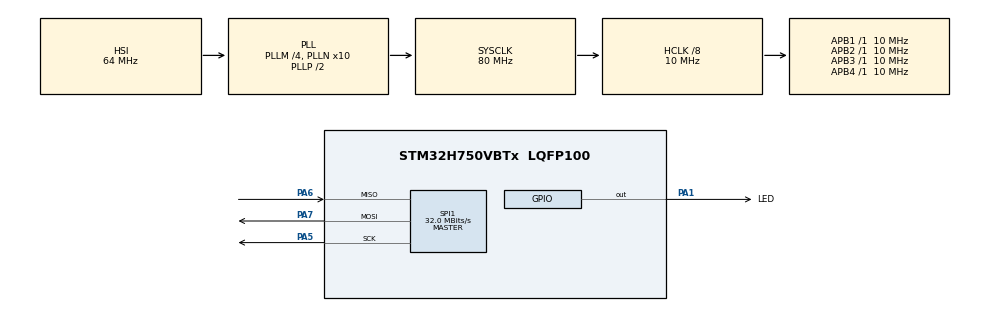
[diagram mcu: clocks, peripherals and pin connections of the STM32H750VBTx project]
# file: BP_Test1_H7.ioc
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CORTEX_M7.MPU_Control=__NULL
Mcu.Family=STM32H7
Mcu.Name=STM32H750VBTx
Mcu.Package=LQFP100
NVIC.PriorityGroup=NVIC_PRIORITYGROUP_4
PA1.GPIO_Label=LED
PA1.Signal=GPIO_Output
PA13\ (JTMS/SWDIO).Mode=Trace_Synchro_4bits_SW
PA13\ (JTMS/SWDIO).Signal=DEBUG_JTMS-SWDIO
PA14\ (JTCK/SWCLK).Mode=Trace_Synchro_4bits_SW
PA14\ (JTCK/SWCLK).Signal=DEBUG_JTCK-SWCLK
PA5.Mode=Full_Duplex_Master
PA5.Signal=SPI1_SCK
PA6.Mode=Full_Duplex_Master
PA6.Signal=SPI1_MISO
PA7.Mode=Full_Duplex_Master
PA7.Signal=SPI1_MOSI
PE2.Mode=Trace_Synchro_4bits_SW
PE2.Signal=DEBUG_TRACECLK
PE3.Mode=Trace_Synchro_4bits_SW
PE3.Signal=DEBUG_TRACED0
PE4.Mode=Trace_Synchro_4bits_SW
PE4.Signal=DEBUG_TRACED1
PE5.Mode=Trace_Synchro_4bits_SW
PE5.Signal=DEBUG_TRACED2
PE6.Mode=Trace_Synchro_4bits_SW
PE6.Signal=DEBUG_TRACED3
ProjectManager.HeapSize=0x200
ProjectManager.StackSize=0x400
ProjectManager.TargetToolchain=STM32CubeIDE
RCC.ADCFreq_Value=16000000
RCC.APB1Freq_Value=10000000
RCC.APB2Freq_Value=10000000
RCC.APB3Freq_Value=10000000
RCC.APB4Freq_Value=10000000
RCC.CortexFreq_Value=80000000
RCC.DIVM1=4
RCC.DIVM2=2
RCC.DIVM3=2
RCC.DIVN1=10
RCC.DIVN2=4
RCC.DIVN3=4
RCC.DIVP2=8
RCC.DIVP3=8
RCC.DIVQ1=8
RCC.DIVR1=8
RCC.HCLKFreq_Value=10000000
RCC.HPRE=RCC_HCLK_DIV8
RCC.HSE_VALUE=25000000
RCC.HSICalibrationValue=64
RCC.PLLFRACN=0
RCC.SPI123CLockSelection=RCC_SPI123CLKSOURCE_CLKP
RCC.SYSCLKFreq_VALUE=80000000
RCC.SYSCLKSource=RCC_SYSCLKSOURCE_PLLCLK
RCC.USBFreq_Value=20000000
SPI1.CalculateBaudRate=32.0 MBits/s
SPI1.DataSize=SPI_DATASIZE_8BIT
SPI1.Direction=SPI_DIRECTION_2LINES
SPI1.Mode=SPI_MODE_MASTER
SPI1.VirtualType=VM_MASTER
VP_MEMORYMAP_VS_MEMORYMAP.Mode=CurAppReg
board=custom

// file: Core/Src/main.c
/* USER CODE BEGIN Header */
/**
  ******************************************************************************
  * @file           : main.c
  * @brief          : Main program body
  ******************************************************************************
  * @attention
  *
  * Copyright (c) 2026 STMicroelectronics.
  * All rights reserved.
  *
  * This software is licensed under terms that can be found in the LICENSE file
  * in the root directory of this software component.
  * If no LICENSE file comes with this software, it is provided AS-IS.
  *
  ******************************************************************************
  */
/* USER CODE END Header */
#include "main.h"

/* USER CODE BEGIN Includes */
#include "ETMv4.h"
/* USER CODE END Includes */

/* USER CODE BEGIN PD */
// CoreSight Lock Access Key
/* USER CODE END PD */

SPI_HandleTypeDef hspi1;

void SystemClock_Config(void);
void PeriphCommonClock_Config(void);
static void MX_GPIO_Init(void);
static void MX_SPI1_Init(void);
/* USER CODE BEGIN PFP */
void Configure_ETM_Trace(void);
void StartPoint(void);
void StopPoint(void);

/* USER CODE END PFP */

int main(void)
{

  /* MCU Configuration--------------------------------------------------------*/

  /* Reset of all peripherals, Initializes the Flash interface and the Systick. */
  HAL_Init();

  /* Configure the system clock */
  SystemClock_Config();

  /* Configure the peripherals common clocks */
  PeriphCommonClock_Config();

  /* Initialize all configured peripherals */
  MX_GPIO_Init();
  MX_SPI1_Init();
  /* USER CODE BEGIN 2 */
  // Enable TRACECK in DBGMCU_CR
  // Note: DBGMCU base address is usually 0x5C001000 on STM32H7
  uint8_t temp[] = "HelloMom";
  uint8_t RecBuff[9];
  Parallel_Trace_configure();
  //GPIO_TraceSWO_Init();
  //System_Trace_Pipeline_Init(2);3
  //TraceGPIO_Configure();

  /* USER CODE END 2 */

  /* Infinite loop */
  /* USER CODE BEGIN WHILE */
  /* Snapshot the trace path AFTER StartPoint() so DWT COMP0 has matched and
   * trace is already flowing. Break here and copy g_trace_status.etm_idr* into
   * ETM_REGS in TempDecoder_V0.2.py. */
  Trace_DumpStatus();
  uint32_t i = 0x0;
  while (1)
  {
	  HAL_Delay(300);
	  StartPoint();

	  //HAL_SPI_Transmit(&hspi1, temp,  sizeof(temp), 100);
	  //HAL_GPIO_TogglePin(LED_GPIO_Port,LED_Pin);
	  GPIOA->BSRR = LED_Pin;
	  while(i < 0xfffff)
	  {
	    __NOP();
	    i++;
	  }
	  i = 0;
	  //HAL_I2C_Master_Transmit(&hi2c1, 0x01,temp, sizeof(temp), 100);
	  //HAL_I2C_Slave_Transmit(&hi2c1,temp, sizeof(temp), 100);
	  StopPoint();
	  //HAL_Delay(300);
	  GPIOA->BSRR = LED_Pin << 16;
    /* USER CODE END WHILE */

  }
}

void SystemClock_Config(void)
{
  RCC_OscInitTypeDef RCC_OscInitStruct = {0};
  RCC_ClkInitTypeDef RCC_ClkInitStruct = {0};

  /** Supply configuration update enable
  */
  HAL_PWREx_ConfigSupply(PWR_LDO_SUPPLY);

  /** Configure the main internal regulator output voltage
  */
  __HAL_PWR_VOLTAGESCALING_CONFIG(PWR_REGULATOR_VOLTAGE_SCALE3);

  while(!__HAL_PWR_GET_FLAG(PWR_FLAG_VOSRDY)) {}

  /** Initializes the RCC Oscillators according to the specified parameters
  * in the RCC_OscInitTypeDef structure.
  */
  RCC_OscInitStruct.OscillatorType = RCC_OSCILLATORTYPE_HSI;
  RCC_OscInitStruct.HSIState = RCC_HSI_DIV1;
  RCC_OscInitStruct.HSICalibrationValue = RCC_HSICALIBRATION_DEFAULT;
  RCC_OscInitStruct.PLL.PLLState = RCC_PLL_ON;
  RCC_OscInitStruct.PLL.PLLSource = RCC_PLLSOURCE_HSI;
  RCC_OscInitStruct.PLL.PLLM = 4;
  RCC_OscInitStruct.PLL.PLLN = 10;
  RCC_OscInitStruct.PLL.PLLP = 2;
  RCC_OscInitStruct.PLL.PLLQ = 8;
  RCC_OscInitStruct.PLL.PLLR = 8;
  RCC_OscInitStruct.PLL.PLLRGE = RCC_PLL1VCIRANGE_3;
  RCC_OscInitStruct.PLL.PLLVCOSEL = RCC_PLL1VCOMEDIUM;
  RCC_OscInitStruct.PLL.PLLFRACN = 0;
  if (HAL_RCC_OscConfig(&RCC_OscInitStruct) != HAL_OK)
  {
    Error_Handler();
  }

  /** Initializes the CPU, AHB and APB buses clocks
  */
  RCC_ClkInitStruct.ClockType = RCC_CLOCKTYPE_HCLK|RCC_CLOCKTYPE_SYSCLK
                              |RCC_CLOCKTYPE_PCLK1|RCC_CLOCKTYPE_PCLK2
                              |RCC_CLOCKTYPE_D3PCLK1|RCC_CLOCKTYPE_D1PCLK1;
  RCC_ClkInitStruct.SYSCLKSource = RCC_SYSCLKSOURCE_PLLCLK;
  RCC_ClkInitStruct.SYSCLKDivider = RCC_SYSCLK_DIV1;
  RCC_ClkInitStruct.AHBCLKDivider = RCC_HCLK_DIV8;
  RCC_ClkInitStruct.APB3CLKDivider = RCC_APB3_DIV1;
  RCC_ClkInitStruct.APB1CLKDivider = RCC_APB1_DIV1;
  RCC_ClkInitStruct.APB2CLKDivider = RCC_APB2_DIV1;
  RCC_ClkInitStruct.APB4CLKDivider = RCC_APB4_DIV1;

  if (HAL_RCC_ClockConfig(&RCC_ClkInitStruct, FLASH_LATENCY_0) != HAL_OK)
  {
    Error_Handler();
  }
}

void PeriphCommonClock_Config(void)
{
  RCC_PeriphCLKInitTypeDef PeriphClkInitStruct = {0};

  /** Initializes the peripherals clock
  */
  PeriphClkInitStruct.PeriphClockSelection = RCC_PERIPHCLK_CKPER;
  PeriphClkInitStruct.CkperClockSelection = RCC_CLKPSOURCE_HSI;
  if (HAL_RCCEx_PeriphCLKConfig(&PeriphClkInitStruct) != HAL_OK)
  {
    Error_Handler();
  }
}

static void MX_SPI1_Init(void)
{

  /* SPI1 parameter configuration*/
  hspi1.Instance = SPI1;
  hspi1.Init.Mode = SPI_MODE_MASTER;
  hspi1.Init.Direction = SPI_DIRECTION_2LINES;
  hspi1.Init.DataSize = SPI_DATASIZE_8BIT;
  hspi1.Init.CLKPolarity = SPI_POLARITY_LOW;
  hspi1.Init.CLKPhase = SPI_PHASE_1EDGE;
  hspi1.Init.NSS = SPI_NSS_SOFT;
  hspi1.Init.BaudRatePrescaler = SPI_BAUDRATEPRESCALER_2;
  hspi1.Init.FirstBit = SPI_FIRSTBIT_MSB;
  hspi1.Init.TIMode = SPI_TIMODE_DISABLE;
  hspi1.Init.CRCCalculation = SPI_CRCCALCULATION_DISABLE;
  hspi1.Init.CRCPolynomial = 0x0;
  hspi1.Init.NSSPMode = SPI_NSS_PULSE_ENABLE;
  hspi1.Init.NSSPolarity = SPI_NSS_POLARITY_LOW;
  hspi1.Init.FifoThreshold = SPI_FIFO_THRESHOLD_01DATA;
  hspi1.Init.TxCRCInitializationPattern = SPI_CRC_INITIALIZATION_ALL_ZERO_PATTERN;
  hspi1.Init.RxCRCInitializationPattern = SPI_CRC_INITIALIZATION_ALL_ZERO_PATTERN;
  hspi1.Init.MasterSSIdleness = SPI_MASTER_SS_IDLENESS_00CYCLE;
  hspi1.Init.MasterInterDataIdleness = SPI_MASTER_INTERDATA_IDLENESS_00CYCLE;
  hspi1.Init.MasterReceiverAutoSusp = SPI_MASTER_RX_AUTOSUSP_DISABLE;
  hspi1.Init.MasterKeepIOState = SPI_MASTER_KEEP_IO_STATE_DISABLE;
  hspi1.Init.IOSwap = SPI_IO_SWAP_DISABLE;
  if (HAL_SPI_Init(&hspi1) != HAL_OK)
  {
    Error_Handler();
  }

}

static void MX_GPIO_Init(void)
{
  GPIO_InitTypeDef GPIO_InitStruct = {0};

  /* GPIO Ports Clock Enable */
  __HAL_RCC_GPIOE_CLK_ENABLE();
  __HAL_RCC_GPIOA_CLK_ENABLE();

  /*Configure GPIO pin Output Level */
  HAL_GPIO_WritePin(LED_GPIO_Port, LED_Pin, GPIO_PIN_RESET);

  /*Configure GPIO pin : LED_Pin */
  GPIO_InitStruct.Pin = LED_Pin;
  GPIO_InitStruct.Mode = GPIO_MODE_OUTPUT_PP;
  GPIO_InitStruct.Pull = GPIO_NOPULL;
  GPIO_InitStruct.Speed = GPIO_SPEED_FREQ_LOW;
  HAL_GPIO_Init(LED_GPIO_Port, &GPIO_InitStruct);

}

/* USER CODE BEGIN 4 */

void GPIO_TraceSWO_Init(void)
{
    GPIO_InitTypeDef GPIO_InitStruct = {0};

    /* Enable GPIOB Clock */
    __HAL_RCC_GPIOB_CLK_ENABLE();

    /* Configure PB3 as JTDO/TRACE_SWO */
    GPIO_InitStruct.Pin       = GPIO_PIN_3;
    GPIO_InitStruct.Mode      = GPIO_MODE_AF_PP;       // Alternate Function Push-Pull
    GPIO_InitStruct.Pull      = GPIO_NOPULL;           // No Pull-up or Pull-down
    GPIO_InitStruct.Speed     = GPIO_SPEED_FREQ_VERY_HIGH; // Crucial for high baud rates
    GPIO_InitStruct.Alternate = GPIO_AF0_MCO;          // AF0 (System/Debug mapping)

    HAL_GPIO_Init(GPIOB, &GPIO_InitStruct);
}
/* USER CODE END 4 */

void Error_Handler(void)
{
  __disable_irq();
  while (1)
  {
  }
}
